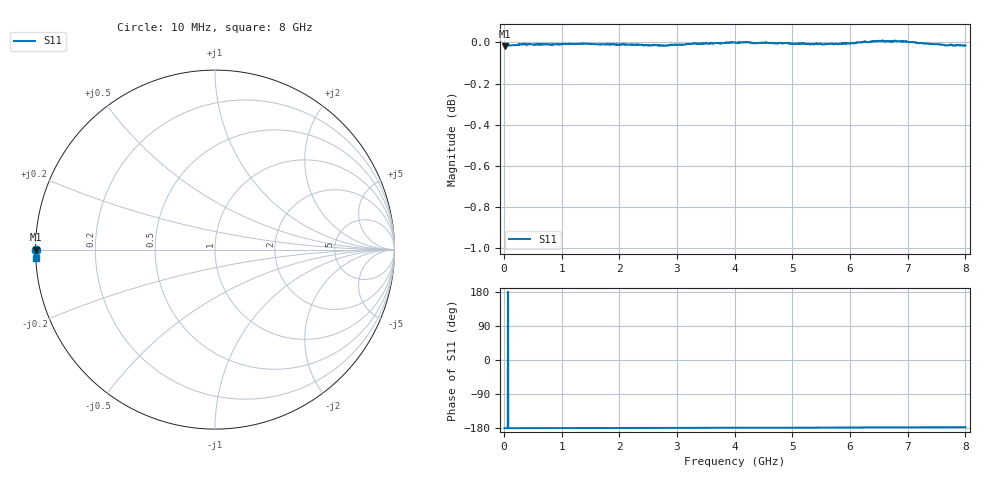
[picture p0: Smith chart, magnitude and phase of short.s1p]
! 1-Port measurement of an SMA(m) short
! An interesting aspect of this file is that the impedance
!  rotates counter-clockwise with increasing frequency in
!  the Smith-chart, even though you would typically expect
!  it to rotate clock-wise. This is because the VNA cal
!  shifts the reference plane to the end of the connector
!  of the DUT, i.e. a bit away from the VNA's female
!  3.5 mm connector. However, this particular DUT shorts
!  the signal immediately at the end of the VNA's
!  connector, which means the cal data contains a short
!  transmission line that is not in the DUT, resulting in
!  a negative-length transmission line in the calibrated
!  data.
# Hz S  dB  R 50
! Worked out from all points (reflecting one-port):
!   2501 points, 10 MHz to 8 GHz, reference 50 ohm
!   lowest |S11| = 0.0 dB at 13.2 MHz (marker M1), VSWR 942.04, Z = 0.0531 - j0.0278 ohm
!   phase of S11 starts at -180 deg and turns +3 deg over the sweep
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1e7  -0.01 -179.9
1.3196e7  -0.02 -179.9
9.3096e7  -0.01 -180.0
3.35992e8  -0.01 -179.8
6.20436e8  -0.01 -179.7
1.010348e9  -0.01 -179.5
1.381084e9  -0.01 -179.5
2.0075e9  -0.01 -179.5
2.474116e9  -0.01 -179.4
3.007848e9  -0.01 -179.1
3.327448e9  -0.01 -178.9
3.547972e9  -0.01 -178.9
3.663028e9  -0.00 -178.8
4.005e9  0.00 -178.7
4.2447e9  -0.00 -178.7
4.78802e9  -0.00 -178.7
5.005348e9  -0.01 -178.7
5.471964e9  -0.01 -178.4
5.801152e9  -0.01 -178.2
6.0025e9  -0.00 -178.0
6.660876e9  0.01 -177.6
6.814284e9  0.01 -177.5
7.002848e9  0.00 -177.5
7.181824e9  -0.00 -177.4
7.287292e9  -0.00 -177.4
7.373584e9  -0.01 -177.4
7.670812e9  -0.02 -177.4
8e9  -0.01 -177.3
